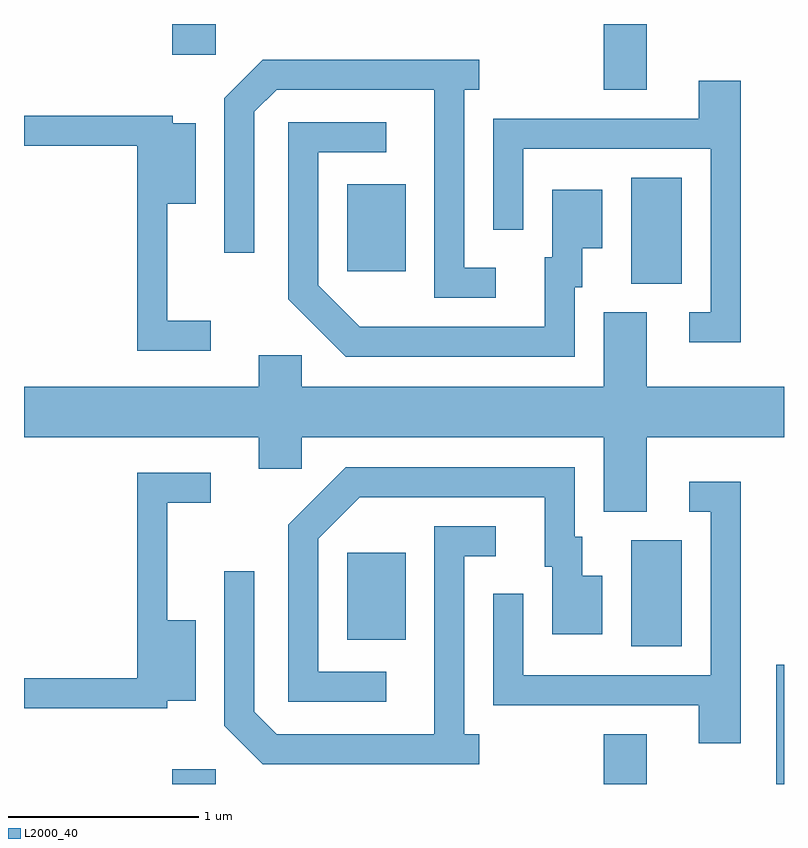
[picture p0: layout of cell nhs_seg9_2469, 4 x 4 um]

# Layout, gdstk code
import gdstk
lib = gdstk.Library(unit=1e-6, precision=1e-09)
def R(c, l, rs):  # rectangles x0, y0, x1, y1
    for r in rs: c.add(gdstk.rectangle(r[:2], r[2:], *l))
def P(c, l, *ps):  # polygons
    for p in ps: c.add(gdstk.Polygon(p, *l))
L2000_40 = (2000, 40)

nhs_seg9_2469 = lib.new_cell('nhs_seg9_2469')
R(nhs_seg9_2469, L2000_40, [(258.391,1994.432,258.619,1994.509), (260.661,1994.432,260.889,1994.694), (261.571,1994.432,261.611,1995.059), (260.806,1995.156,261.074,1995.714), (259.311,1995.191,259.619,1995.649), (260.806,1997.066,261.074,1997.624), (259.311,1997.131,259.619,1997.589), (260.661,1998.086,260.889,1998.432), (258.391,1998.271,258.619,1998.432)])
P(nhs_seg9_2469, L2000_40, [(260.093,1997.149),(259.929,1997.149),(259.929,1998.086),(260.008,1998.086),(260.008,1998.244),(258.868,1998.244),(258.666,1998.042),(258.666,1997.228),(258.824,1997.228),(258.824,1997.969),(258.942,1998.086),(259.771,1998.086),(259.771,1996.991),(260.093,1996.991)],
  [(261.384,1998.134),(261.161,1998.134),(261.161,1997.934),(260.081,1997.934),(260.081,1997.348),(260.239,1997.348),(260.239,1997.776),(261.226,1997.776),(261.226,1996.914),(261.113,1996.914),(261.113,1996.756),(261.384,1996.756)],
  [(258.593,1996.869),(258.364,1996.869),(258.364,1997.486),(258.514,1997.486),(258.514,1997.909),(258.394,1997.909),(258.394,1997.949),(257.611,1997.949),(257.611,1997.791),(258.206,1997.791),(258.206,1996.711),(258.593,1996.711)],
  [(260.509,1997.046),(260.549,1997.046),(260.549,1997.251),(260.654,1997.251),(260.654,1997.559),(260.391,1997.559),(260.391,1997.204),(260.351,1997.204),(260.351,1996.839),(259.377,1996.839),(259.159,1997.057),(259.159,1997.756),(259.517,1997.756),(259.517,1997.914),(259.001,1997.914),(259.001,1996.984),(259.304,1996.681),(260.509,1996.681)],
  [(260.889,1996.256),(261.611,1996.256),(261.611,1996.524),(260.889,1996.524),(260.889,1996.914),(260.661,1996.914),(260.661,1996.524),(259.074,1996.524),(259.074,1996.689),(258.846,1996.689),(258.846,1996.524),(257.611,1996.524),(257.611,1996.256),(258.846,1996.256),(258.846,1996.091),(259.074,1996.091),(259.074,1996.256),(260.661,1996.256),(260.661,1995.866),(260.889,1995.866)],
  [(259.517,1995.024),(259.159,1995.024),(259.159,1995.724),(259.377,1995.941),(260.351,1995.941),(260.351,1995.576),(260.391,1995.576),(260.391,1995.221),(260.654,1995.221),(260.654,1995.529),(260.549,1995.529),(260.549,1995.734),(260.509,1995.734),(260.509,1996.099),(259.304,1996.099),(259.001,1995.797),(259.001,1994.866),(259.517,1994.866)],
  [(258.364,1994.871),(258.514,1994.871),(258.514,1995.294),(258.364,1995.294),(258.364,1995.911),(258.593,1995.911),(258.593,1996.069),(258.206,1996.069),(258.206,1994.989),(257.611,1994.989),(257.611,1994.831),(258.364,1994.831)],
  [(261.384,1996.024),(261.113,1996.024),(261.113,1995.866),(261.226,1995.866),(261.226,1995.004),(260.239,1995.004),(260.239,1995.433),(260.081,1995.433),(260.081,1994.846),(261.161,1994.846),(261.161,1994.646),(261.384,1994.646)],
  [(260.008,1994.694),(259.929,1994.694),(259.929,1995.631),(260.093,1995.631),(260.093,1995.789),(259.771,1995.789),(259.771,1994.694),(258.942,1994.694),(258.824,1994.812),(258.824,1995.553),(258.666,1995.553),(258.666,1994.739),(258.868,1994.536),(260.008,1994.536)])

lib.write_gds('nhs_seg9_2469.gds')
